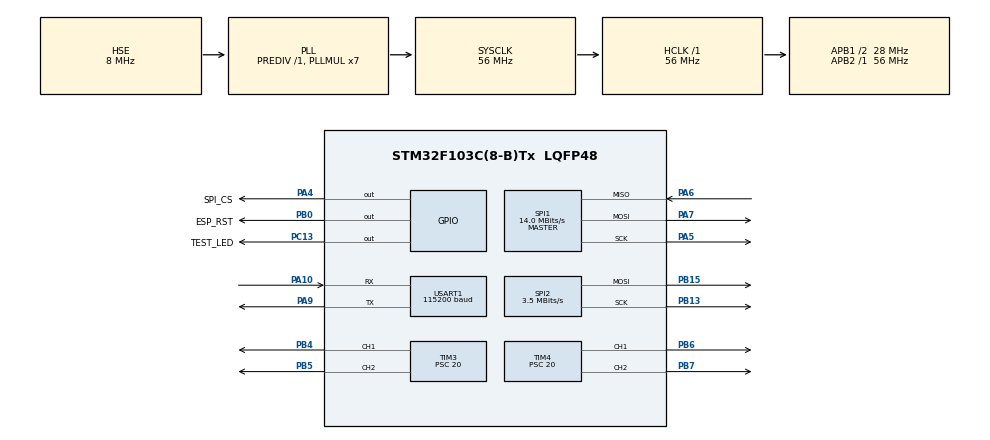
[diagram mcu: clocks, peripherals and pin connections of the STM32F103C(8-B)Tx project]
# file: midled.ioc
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Dma.Request0=SPI2_TX
Dma.Request1=SPI1_RX
Dma.Request2=SPI1_TX
Dma.SPI1_RX.1.Direction=DMA_PERIPH_TO_MEMORY
Dma.SPI1_RX.1.Instance=DMA1_Channel2
Dma.SPI1_RX.1.MemDataAlignment=DMA_MDATAALIGN_BYTE
Dma.SPI1_RX.1.MemInc=DMA_MINC_ENABLE
Dma.SPI1_RX.1.Mode=DMA_NORMAL
Dma.SPI1_RX.1.PeriphDataAlignment=DMA_PDATAALIGN_BYTE
Dma.SPI1_RX.1.PeriphInc=DMA_PINC_DISABLE
Dma.SPI1_RX.1.Priority=DMA_PRIORITY_HIGH
Dma.SPI1_TX.2.Direction=DMA_MEMORY_TO_PERIPH
Dma.SPI1_TX.2.Instance=DMA1_Channel3
Dma.SPI1_TX.2.MemDataAlignment=DMA_MDATAALIGN_BYTE
Dma.SPI1_TX.2.MemInc=DMA_MINC_DISABLE
Dma.SPI1_TX.2.Mode=DMA_NORMAL
Dma.SPI1_TX.2.PeriphDataAlignment=DMA_PDATAALIGN_BYTE
Dma.SPI1_TX.2.PeriphInc=DMA_PINC_DISABLE
Dma.SPI1_TX.2.Priority=DMA_PRIORITY_HIGH
Dma.SPI2_TX.0.Direction=DMA_MEMORY_TO_PERIPH
Dma.SPI2_TX.0.Instance=DMA1_Channel5
Dma.SPI2_TX.0.MemDataAlignment=DMA_MDATAALIGN_BYTE
Dma.SPI2_TX.0.MemInc=DMA_MINC_ENABLE
Dma.SPI2_TX.0.Mode=DMA_CIRCULAR
Dma.SPI2_TX.0.PeriphDataAlignment=DMA_PDATAALIGN_BYTE
Dma.SPI2_TX.0.PeriphInc=DMA_PINC_DISABLE
Dma.SPI2_TX.0.Priority=DMA_PRIORITY_LOW
Mcu.Family=STM32F1
Mcu.Name=STM32F103C(8-B)Tx
Mcu.Package=LQFP48
NVIC.DMA1_Channel2_IRQn=true\:0\:0\:false\:false\:true\:true
NVIC.DMA1_Channel3_IRQn=true\:0\:0\:false\:false\:true\:true
NVIC.DMA1_Channel5_IRQn=true\:0\:0\:false\:false\:true\:true
NVIC.PriorityGroup=NVIC_PRIORITYGROUP_4
NVIC.USART1_IRQn=true\:0\:0\:false\:false\:true\:true
PA10.Mode=Asynchronous
PA10.Signal=USART1_RX
PA13.Mode=Serial_Wire
PA13.Signal=SYS_JTMS-SWDIO
PA14.Mode=Serial_Wire
PA14.Signal=SYS_JTCK-SWCLK
PA4.GPIO_Label=SPI_CS
PA4.GPIO_Speed=GPIO_SPEED_FREQ_HIGH
PA4.Signal=GPIO_Output
PA5.Mode=Full_Duplex_Master
PA5.Signal=SPI1_SCK
PA6.Mode=Full_Duplex_Master
PA6.Signal=SPI1_MISO
PA7.Mode=Full_Duplex_Master
PA7.Signal=SPI1_MOSI
PA9.Mode=Asynchronous
PA9.Signal=USART1_TX
PB0.GPIO_Label=ESP_RST
PB0.Signal=GPIO_Output
PB13.Mode=TX_Only_Simplex_Unidirect_Master
PB13.Signal=SPI2_SCK
PB15.Mode=TX_Only_Simplex_Unidirect_Master
PB15.Signal=SPI2_MOSI
PB4.GPIO_Speed=GPIO_SPEED_FREQ_HIGH
PB4.Signal=S_TIM3_CH1
PB5.GPIO_Speed=GPIO_SPEED_FREQ_HIGH
PB5.Signal=S_TIM3_CH2
PB6.GPIO_Speed=GPIO_SPEED_FREQ_HIGH
PB6.Signal=S_TIM4_CH1
PB7.GPIO_Speed=GPIO_SPEED_FREQ_HIGH
PB7.Signal=S_TIM4_CH2
PC13-TAMPER-RTC.GPIO_Label=TEST_LED
PC13-TAMPER-RTC.Signal=GPIO_Output
PD0-OSC_IN.Mode=HSE-External-Oscillator
PD0-OSC_IN.Signal=RCC_OSC_IN
PD1-OSC_OUT.Mode=HSE-External-Oscillator
PD1-OSC_OUT.Signal=RCC_OSC_OUT
ProjectManager.HeapSize=0x200
ProjectManager.StackSize=0x400
ProjectManager.TargetToolchain=MDK-ARM V5
RCC.AHBFreq_Value=56000000
RCC.APB1CLKDivider=RCC_HCLK_DIV2
RCC.APB1Freq_Value=28000000
RCC.APB1TimFreq_Value=56000000
RCC.APB2Freq_Value=56000000
RCC.APB2TimFreq_Value=56000000
RCC.EnbaleCSS=true
RCC.HCLKFreq_Value=56000000
RCC.PLLMUL=RCC_PLL_MUL7
RCC.PLLSourceVirtual=RCC_PLLSOURCE_HSE
RCC.SYSCLKFreq_VALUE=56000000
RCC.SYSCLKSource=RCC_SYSCLKSOURCE_PLLCLK
RCC.USBFreq_Value=56000000
SH.S_TIM3_CH1.0=TIM3_CH1,PWM Generation1 CH1
SH.S_TIM3_CH2.0=TIM3_CH2,PWM Generation2 CH2
SH.S_TIM4_CH1.0=TIM4_CH1,PWM Generation1 CH1
SH.S_TIM4_CH2.0=TIM4_CH2,PWM Generation2 CH2
SPI1.BaudRatePrescaler=SPI_BAUDRATEPRESCALER_4
SPI1.CalculateBaudRate=14.0 MBits/s
SPI1.Direction=SPI_DIRECTION_2LINES
SPI1.Mode=SPI_MODE_MASTER
SPI1.VirtualType=VM_MASTER
SPI2.BaudRatePrescaler=SPI_BAUDRATEPRESCALER_8
SPI2.CalculateBaudRate=3.5 MBits/s
SPI2.Direction=SPI_DIRECTION_2LINES
SPI2.Mode=SPI_MODE_MASTER
SPI2.VirtualType=VM_MASTER
TIM3.Channel-PWM\ Generation1\ CH1=TIM_CHANNEL_1
TIM3.Channel-PWM\ Generation2\ CH2=TIM_CHANNEL_2
TIM3.Period=256
TIM3.Prescaler=20
TIM3.Pulse-PWM\ Generation1\ CH1=255
TIM3.Pulse-PWM\ Generation2\ CH2=255
TIM4.Channel-PWM\ Generation1\ CH1=TIM_CHANNEL_1
TIM4.Channel-PWM\ Generation2\ CH2=TIM_CHANNEL_2
TIM4.Period=255
TIM4.Prescaler=20
TIM4.Pulse-PWM\ Generation1\ CH1=255
TIM4.Pulse-PWM\ Generation2\ CH2=255
USART1.BaudRate=115200
USART1.VirtualMode=VM_ASYNC
board=midled

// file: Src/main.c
/**
  ******************************************************************************
  * File Name          : main.c
  * Description        : Main program body
  ******************************************************************************
  *
  * COPYRIGHT(c) 2017 STMicroelectronics
  *
  * Redistribution and use in source and binary forms, with or without modification,
  * are permitted provided that the following conditions are met:
  *   1. Redistributions of source code must retain the above copyright notice,
  *      this list of conditions and the following disclaimer.
  *   2. Redistributions in binary form must reproduce the above copyright notice,
  *      this list of conditions and the following disclaimer in the documentation
  *      and/or other materials provided with the distribution.
  *   3. Neither the name of STMicroelectronics nor the names of its contributors
  *      may be used to endorse or promote products derived from this software
  *      without specific prior written permission.
  *
  * THIS SOFTWARE IS PROVIDED BY THE COPYRIGHT HOLDERS AND CONTRIBUTORS "AS IS"
  * AND ANY EXPRESS OR IMPLIED WARRANTIES, INCLUDING, BUT NOT LIMITED TO, THE
  * IMPLIED WARRANTIES OF MERCHANTABILITY AND FITNESS FOR A PARTICULAR PURPOSE ARE
  * DISCLAIMED. IN NO EVENT SHALL THE COPYRIGHT HOLDER OR CONTRIBUTORS BE LIABLE
  * FOR ANY DIRECT, INDIRECT, INCIDENTAL, SPECIAL, EXEMPLARY, OR CONSEQUENTIAL
  * DAMAGES (INCLUDING, BUT NOT LIMITED TO, PROCUREMENT OF SUBSTITUTE GOODS OR
  * SERVICES; LOSS OF USE, DATA, OR PROFITS; OR BUSINESS INTERRUPTION) HOWEVER
  * CAUSED AND ON ANY THEORY OF LIABILITY, WHETHER IN CONTRACT, STRICT LIABILITY,
  * OR TORT (INCLUDING NEGLIGENCE OR OTHERWISE) ARISING IN ANY WAY OUT OF THE USE
  * OF THIS SOFTWARE, EVEN IF ADVISED OF THE POSSIBILITY OF SUCH DAMAGE.
  *
  ******************************************************************************
  */
#include "main.h"
#include "stm32f1xx_hal.h"
#include "dma.h"
#include "spi.h"
#include "tim.h"
#include "usart.h"
#include "gpio.h"

/* USER CODE BEGIN Includes */
#include "sdcard.h"
#include "buffer.h"
#include "midi.h"
#include "string.h"

#define MAX_LEDS 1000
#define PREAMBLE_SIZE 100
#define LEDBUF_SIZE MAX_LEDS*12+PREAMBLE_SIZE
#define BYTES_PER_LED 3

#define RED   0x0000ff00
#define BLUE  0x00ff0000
#define GREEN 0x000000ff

#define CMD1 "AT+CWMODE=1\r\n"
#define	CMD2 "AT+CWQAP\r\n"
#define CMD3 "AT+CWJAP=\"%s\",\"%s\"\r\n"
#define CMD4 "AT+CIPSTART=\"UDP\",\"192.168.1.1\",21928,%d,2\r\n"
#define CMD_BUF_SIZE 64
#define INITS 4

/* USER CODE END Includes */

/* USER CODE BEGIN PV */
/* Private variables ---------------------------------------------------------*/

typedef struct {
	uint32_t start;
	uint32_t length;
} table_element;

typedef struct {
	uint32_t leds_per_frame;
	uint32_t frames_per_second;
	uint32_t bytes_per_led;
	uint32_t port;
	uint32_t channel;
	char ssid[16];
	char password[16];
} settings_struct;

extern volatile uint32_t timer;

uint8_t settings_buf[SD_SECTOR_SIZE];
settings_struct *settings = (settings_struct *)settings_buf;

uint8_t table_buf[SD_SECTOR_SIZE*2];
table_element *table = (table_element *)table_buf;

uint32_t buf[MAX_LEDS];
uint8_t ledbuf[LEDBUF_SIZE];

uint8_t patterns[4] = {0x88,0x8c,0xc8,0xcc};
uint32_t bmasks[8] = {0xffffffff,0x7f7f7f7f,0x3f3f3f3f,0x1f1f1f1f,
											0x0f0f0f0f,0x07070707,0x03030303,0x01010101};

char cmd_buf[2][CMD_BUF_SIZE+1];

char *inits[INITS] = {
	CMD1,
	CMD2,
	cmd_buf[0],
	cmd_buf[1],
};

uint8_t flash_present = 0;

/* USER CODE END PV */

void SystemClock_Config(void);
void Error_Handler(void);

/* USER CODE BEGIN PFP */
/* Private function prototypes -----------------------------------------------*/

/* USER CODE END PFP */

/* USER CODE BEGIN 0 */
void fill_buf(uint32_t start_sector, uint32_t frame) {
	uint8_t brightness = ((127 - midi_get_velocity()) >> 4);
	for(uint16_t current_led=0;current_led<settings->leds_per_frame;current_led++) {
		buf[current_led] = get_item(start_sector, frame * settings->leds_per_frame + current_led, settings->bytes_per_led);
		buf[current_led] = (buf[current_led]>>brightness) & bmasks[brightness];
	}
}

void process_buf() {
	uint32_t c; //current color

#ifdef __NEO
	uint32_t x;
	uint16_t pp = PREAMBLE_SIZE; //neopixel buffer pointer
	for(uint16_t current_led=0;current_led<settings->leds_per_frame;current_led++) {
		x = buf[current_led];
		c = 0; c|=(x&0x03030303); x>>=2; //reverse bits
		c<<=2; c|=(x&0x03030303); x>>=2;
		c<<=2; c|=(x&0x03030303); x>>=2;
		c<<=2; c|=(x&0x03030303);
		for(uint16_t current_byte=0;current_byte<BYTES_PER_LED;current_byte++)
			for(uint8_t i=0;i<4;i++){
				ledbuf[pp++] = patterns[(c&0x00000003)];
				c>>=2;
			}
	}
#endif

#ifdef __PWM
	c = buf[0];
	htim3.Instance->CCR1 = 256 - (c & 0x000000ff);
	c>>=8;
	htim3.Instance->CCR2 = 256 - (c & 0x000000ff);
	c>>=8;
	htim4.Instance->CCR2 = 256 - (c & 0x000000ff);
	c>>=8;
	htim4.Instance->CCR1 = 256 - (c & 0x000000ff);

#endif
}

void clean_buf() {
#ifdef __NEO
	for(uint16_t i=PREAMBLE_SIZE;i<LEDBUF_SIZE;i++) {
		ledbuf[i] = 0x88;
	}
#endif

#ifdef __PWM
		htim3.Instance->CCR1 = 256;
		htim3.Instance->CCR2 = 256;
		htim4.Instance->CCR1 = 256;
		htim4.Instance->CCR2 = 256;
#endif
}

void signal(uint32_t color) {
	buf[0] = color;
	process_buf();
}

uint8_t get_note() {
	return midi_get_note();
}

void init_wifi() {
	HAL_GPIO_WritePin(ESP_RST_GPIO_Port,ESP_RST_Pin,GPIO_PIN_RESET); //reset ESP8266
  HAL_Delay(100);
	HAL_GPIO_WritePin(ESP_RST_GPIO_Port,ESP_RST_Pin,GPIO_PIN_SET);
	HAL_Delay(2000);

  snprintf(cmd_buf[0],CMD_BUF_SIZE,CMD3,settings->ssid,settings->password);
	snprintf(cmd_buf[1],CMD_BUF_SIZE,CMD4,settings->port);
	for(uint8_t i=0;i<INITS;i++) {
		HAL_UART_Transmit(&huart1, (uint8_t *)inits[i], strlen(inits[i]), 1);
		if (i==2)
			HAL_Delay(20000);
		HAL_Delay(200);
	}
}

/* USER CODE END 0 */

int main(void)
{

  /* USER CODE BEGIN 1 */
uint32_t start_sector = 0;
uint32_t frame_counter = 0;
uint8_t note=UINT8_MAX;
  /* USER CODE END 1 */

  /* MCU Configuration----------------------------------------------------------*/

  /* Reset of all peripherals, Initializes the Flash interface and the Systick. */
  HAL_Init();

  /* Configure the system clock */
  SystemClock_Config();

  /* Initialize all configured peripherals */
  MX_GPIO_Init();
  MX_DMA_Init();
  MX_SPI1_Init();
  MX_SPI2_Init();
  MX_USART1_UART_Init();
  MX_TIM3_Init();
  MX_TIM4_Init();

  /* USER CODE BEGIN 2 */
	settings->bytes_per_led = 3;
	settings->leds_per_frame = 1;

	signal(RED);

#ifdef __NEO
	HAL_SPI_Transmit_DMA(&hspi2,ledbuf,LEDBUF_SIZE);
#endif

#ifdef __PWM
  htim3.Instance->CCR1 = 256;
	htim3.Instance->CCR2 = 256;
	htim4.Instance->CCR1 = 256;
	htim4.Instance->CCR2 = 256;
	HAL_TIM_PWM_Start(&htim3,TIM_CHANNEL_1);
	HAL_TIM_PWM_Start(&htim3,TIM_CHANNEL_2);
	HAL_TIM_PWM_Start(&htim4,TIM_CHANNEL_1);
	HAL_TIM_PWM_Start(&htim4,TIM_CHANNEL_2);
#endif

	while (SD_init()!=0);

	SD_ReadSector(0,settings_buf);
	SD_ReadSector(1,table_buf);
	SD_ReadSector(2,table_buf+SD_SECTOR_SIZE);

	signal(BLUE);

	init_wifi();
	start_midi(settings->channel & 0x0000000f);

  /* USER CODE END 2 */

  /* Infinite loop */
  /* USER CODE BEGIN WHILE */
  while (1)
  {
		while (timer>0);
		if(note!=get_note()) {
			note = get_note();
			if (note<128)
				start_sector = table[note].start;
			else
				start_sector = 0;
			frame_counter = 0;
		}

		if(start_sector==0)
			clean_buf();
		else {
			timer = 1000 / settings->frames_per_second;
			frame_counter%=(table[note].length);
			fill_buf(start_sector,frame_counter++);
			process_buf();
		}

  /* USER CODE END WHILE */

  }

}

/** System Clock Configuration
*/
void SystemClock_Config(void)
{

  RCC_OscInitTypeDef RCC_OscInitStruct;
  RCC_ClkInitTypeDef RCC_ClkInitStruct;

    /**Initializes the CPU, AHB and APB busses clocks
    */
  RCC_OscInitStruct.OscillatorType = RCC_OSCILLATORTYPE_HSE;
  RCC_OscInitStruct.HSEState = RCC_HSE_ON;
  RCC_OscInitStruct.HSEPredivValue = RCC_HSE_PREDIV_DIV1;
  RCC_OscInitStruct.HSIState = RCC_HSI_ON;
  RCC_OscInitStruct.PLL.PLLState = RCC_PLL_ON;
  RCC_OscInitStruct.PLL.PLLSource = RCC_PLLSOURCE_HSE;
  RCC_OscInitStruct.PLL.PLLMUL = RCC_PLL_MUL7;
  if (HAL_RCC_OscConfig(&RCC_OscInitStruct) != HAL_OK)
  {
    Error_Handler();
  }

    /**Initializes the CPU, AHB and APB busses clocks
    */
  RCC_ClkInitStruct.ClockType = RCC_CLOCKTYPE_HCLK|RCC_CLOCKTYPE_SYSCLK
                              |RCC_CLOCKTYPE_PCLK1|RCC_CLOCKTYPE_PCLK2;
  RCC_ClkInitStruct.SYSCLKSource = RCC_SYSCLKSOURCE_PLLCLK;
  RCC_ClkInitStruct.AHBCLKDivider = RCC_SYSCLK_DIV1;
  RCC_ClkInitStruct.APB1CLKDivider = RCC_HCLK_DIV2;
  RCC_ClkInitStruct.APB2CLKDivider = RCC_HCLK_DIV1;

  if (HAL_RCC_ClockConfig(&RCC_ClkInitStruct, FLASH_LATENCY_2) != HAL_OK)
  {
    Error_Handler();
  }

    /**Enables the Clock Security System
    */
  HAL_RCC_EnableCSS();

    /**Configure the Systick interrupt time
    */
  HAL_SYSTICK_Config(HAL_RCC_GetHCLKFreq()/1000);

    /**Configure the Systick
    */
  HAL_SYSTICK_CLKSourceConfig(SYSTICK_CLKSOURCE_HCLK);

  /* SysTick_IRQn interrupt configuration */
  HAL_NVIC_SetPriority(SysTick_IRQn, 0, 0);
}

void Error_Handler(void)
{
  while(1)
  {
  }
}

/************************ (C) COPYRIGHT STMicroelectronics *****END OF FILE****/
